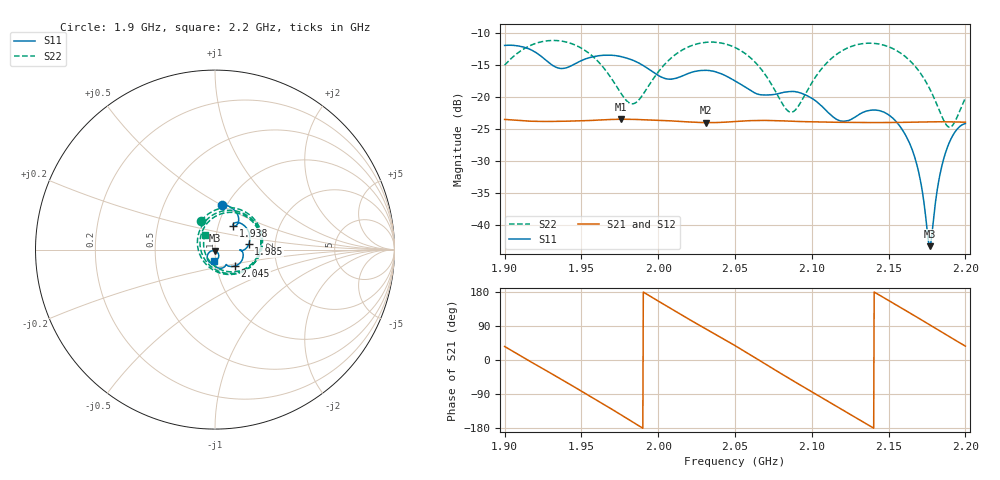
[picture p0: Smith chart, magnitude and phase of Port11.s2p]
# Hz S RI R 50
! CMT, CMT808U, 21440046, 21.4.3/4
! Date: 3/28/2026 5:03:37 PM
! Data: Format (Calibration Info)
! Freq	S11:Re/Im(F2)	S41:Re/Im(F2)	S14:Re/Im(F2)	S44:Re/Im(F2)
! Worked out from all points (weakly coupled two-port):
!   1001 points, 1.9 GHz to 2.2 GHz, reference 50 ohm
!   highest |S21| = -23.47 dB at 1.976 GHz (marker M1); lowest = -24.0 dB at 2.031 GHz (marker M2)
!   lowest |S11| = -43.3 dB at 2.177 GHz (marker M3), VSWR 1.01, Z = 49.9 - j0.667 ohm
!   |S11| at or under -10 dB: start of sweep to end of sweep
!   |S22| runs from -24.7 to -11.1 dB; largest |S21 - S12| = 0.00043
!   S11 on the Smith chart (normalised r, x): 1.9 GHz: 0.95, +0.51; 1.938 GHz: 1.18, +0.32; 1.985 GHz: 1.46, +0.09; 2.045 GHz: 1.23, -0.23; 2.2 GHz: 0.98, -0.12
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1.9e9  0.0395 0.2506  0.0543 0.039  0.054 0.0392  -0.0769 0.1603
1.918e9  0.1259 0.1945  0.0642 -0.00788  0.0641 -0.00752  0.1138 0.2306
1.9378e9  0.1016 0.133  0.0388 -0.0517  0.039 -0.0514  0.2621 0.0773
1.9501e9  0.1202 0.1513  0.00888 -0.0646  0.00917 -0.0644  0.2344 -0.0558
1.9756e9  0.1938 0.0743  -0.0544 -0.0392  -0.0541 -0.0394  -0.0229 -0.1053
1.9849e9  0.1883 0.0303  -0.0652 -0.0146  -0.065 -0.0149  -0.0871 -0.0213
2.0002e9  0.1471 -0.00563  -0.0597 0.0277  -0.0597 0.0274  -0.0648 0.1443
2.0155e9  0.146 -0.0035  -0.0303 0.0567  -0.0306 0.0565  0.0792 0.219
2.0311e9  0.1529 -0.0533  0.00887 0.0624  0.00856 0.0625  0.2232 0.1488
2.0452e9  0.1111 -0.0918  0.0415 0.0484  0.0412 0.0486  0.2571 0.00931
2.05e9  0.0948 -0.0943  0.0507 0.0396  0.0504 0.0399  0.2413 -0.0383
2.068e9  0.063 -0.0827  0.0653 -0.00712  0.0652 -0.00679  0.0873 -0.1336
2.0854e9  0.0482 -0.0993  0.0425 -0.0489  0.0427 -0.0487  -0.0648 -0.0409
2.1001e9  0.00792 -0.0974  0.00639 -0.0636  0.00672 -0.0635  -0.0665 0.1116
2.1226e9  0.00155 -0.065  -0.047 -0.0426  -0.0467 -0.0428  0.1298 0.2021
2.1502e9  -0.0391 -0.0608  -0.058 0.0251  -0.0581 0.0248  0.2467 -0.0137
2.1664e9  -0.0323 -0.0152  -0.0298 0.0562  -0.03 0.056  0.1338 -0.119
2.1769e9  -0.00129 -0.00668  -0.00283 0.0639  -0.00317 0.0638  0.0308 -0.1111
2.1826e9  0.0144 -0.0165  0.0126 0.0628  0.0122 0.0628  -0.0166 -0.0793
2.1868e9  0.0205 -0.0294  0.0236 0.0595  0.0232 0.0596  -0.0425 -0.046
2.1916e9  0.0186 -0.046  0.0351 0.0534  0.0347 0.0535  -0.06 -0.00127
2.2e9  -0.00553 -0.0618  0.0511 0.0379  0.0509 0.0381  -0.0558 0.0814
